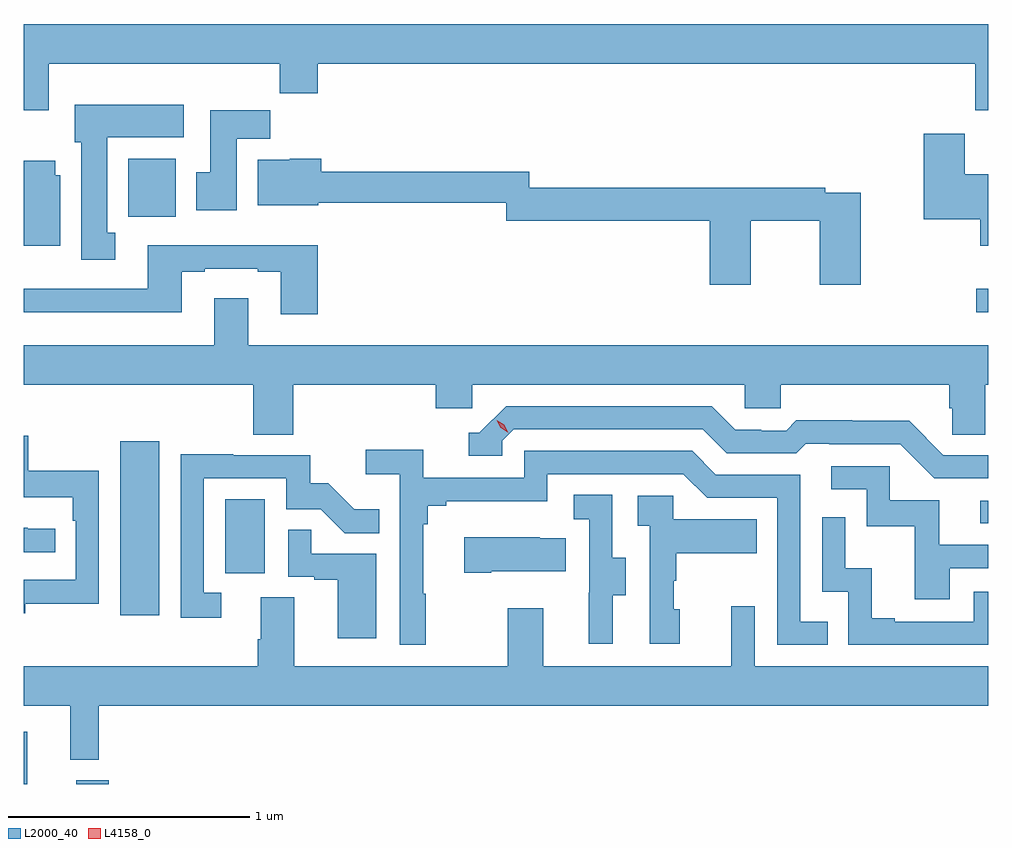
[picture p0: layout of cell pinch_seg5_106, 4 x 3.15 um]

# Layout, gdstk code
import gdstk
lib = gdstk.Library(unit=1e-6, precision=1e-09)
def R(c, l, rs):  # rectangles x0, y0, x1, y1
    for r in rs: c.add(gdstk.rectangle(r[:2], r[2:], *l))
def P(c, l, *ps):  # polygons
    for p in ps: c.add(gdstk.Polygon(p, *l))
L2000_40 = (2000, 40)
L4158_0 = (4158, 0)

pinch_seg5_106 = lib.new_cell('pinch_seg5_106')
R(pinch_seg5_106, L2000_40, [(1028.953,875.083,1028.967,875.299), (1029.17,875.083,1029.305,875.098), (1029.353,875.784,1029.514,876.505), (1029.788,875.958,1029.952,876.265), (1032.921,876.165,1032.953,876.258), (1032.903,877.04,1032.953,877.137), (1029.386,877.436,1029.583,877.678)])
P(pinch_seg5_106, L2000_40, [(1029.055,878.072),(1030.015,878.072),(1030.015,877.948),(1030.172,877.948),(1030.172,878.072),(1032.899,878.072),(1032.899,877.878),(1032.953,877.878),(1032.953,878.236),(1028.953,878.236),(1028.953,877.878),(1029.055,877.878)],
  [(1029.331,877.37),(1029.298,877.37),(1029.298,877.766),(1029.616,877.766),(1029.616,877.9),(1029.164,877.9),(1029.164,877.746),(1029.191,877.746),(1029.191,877.257),(1029.331,877.257)],
  [(1029.835,877.76),(1029.974,877.76),(1029.974,877.879),(1029.725,877.879),(1029.725,877.62),(1029.668,877.62),(1029.668,877.464),(1029.835,877.464)],
  [(1032.953,877.612),(1032.856,877.612),(1032.856,877.78),(1032.686,877.78),(1032.686,877.427),(1032.92,877.427),(1032.92,877.316),(1032.953,877.316)],
  [(1031.968,877.42),(1032.254,877.42),(1032.254,877.155),(1032.425,877.155),(1032.425,877.536),(1032.278,877.536),(1032.278,877.556),(1031.049,877.556),(1031.049,877.624),(1030.187,877.624),(1030.187,877.678),(1030.056,877.678),(1030.056,877.672),(1029.923,877.672),(1029.923,877.484),(1030.174,877.484),(1030.174,877.495),(1030.953,877.495),(1030.953,877.42),(1031.798,877.42),(1031.798,877.155),(1031.968,877.155)],
  [(1029.103,877.608),(1029.082,877.608),(1029.082,877.669),(1028.953,877.669),(1028.953,877.316),(1029.103,877.316)],
  [(1030.172,877.318),(1029.467,877.318),(1029.467,877.137),(1028.953,877.137),(1028.953,877.04),(1029.607,877.04),(1029.607,877.209),(1029.703,877.209),(1029.703,877.221),(1029.923,877.221),(1029.923,877.209),(1030.019,877.209),(1030.019,877.032),(1030.172,877.032)],
  [(1030.07,876.74),(1030.661,876.74),(1030.661,876.642),(1030.812,876.642),(1030.812,876.74),(1031.943,876.74),(1031.943,876.642),(1032.093,876.642),(1032.093,876.74),(1032.791,876.74),(1032.791,876.642),(1032.805,876.642),(1032.805,876.532),(1032.942,876.532),(1032.942,876.74),(1032.953,876.74),(1032.953,876.904),(1029.883,876.904),(1029.883,877.099),(1029.743,877.099),(1029.743,876.904),(1028.953,876.904),(1028.953,876.74),(1029.905,876.74),(1029.905,876.532),(1030.07,876.532)],
  [(1032.953,876.447),(1032.768,876.447),(1032.626,876.589),(1032.39,876.589),(1032.39,876.592),(1032.157,876.592),(1032.115,876.549),(1032.012,876.549),(1032.012,876.552),(1031.905,876.552),(1031.806,876.651),(1030.953,876.651),(1030.842,876.54),(1030.799,876.54),(1030.799,876.444),(1030.938,876.444),(1030.938,876.507),(1030.986,876.555),(1031.769,876.555),(1031.868,876.456),(1032.157,876.456),(1032.196,876.495),(1032.295,876.495),(1032.295,876.492),(1032.588,876.492),(1032.729,876.351),(1032.953,876.351)],
  [(1028.959,875.83),(1029.264,875.83),(1029.264,876.382),(1028.971,876.382),(1028.971,876.528),(1028.953,876.528),(1028.953,876.272),(1029.155,876.272),(1029.155,876.176),(1029.168,876.176),(1029.168,875.931),(1028.953,875.931),(1028.953,875.792),(1028.959,875.792)],
  [(1030.621,875.873),(1030.609,875.873),(1030.609,876.161),(1030.628,876.161),(1030.628,876.238),(1030.705,876.238),(1030.705,876.257),(1031.124,876.257),(1031.124,876.369),(1031.688,876.369),(1031.787,876.27),(1032.078,876.27),(1032.078,875.661),(1032.287,875.661),(1032.287,875.757),(1032.174,875.757),(1032.174,876.366),(1031.824,876.366),(1031.725,876.465),(1031.028,876.465),(1031.028,876.354),(1030.61,876.354),(1030.61,876.47),(1030.371,876.47),(1030.371,876.368),(1030.512,876.368),(1030.512,875.661),(1030.621,875.661)],
  [(1029.772,875.877),(1029.699,875.877),(1029.699,876.351),(1030.041,876.351),(1030.041,876.222),(1030.185,876.222),(1030.283,876.124),(1030.427,876.124),(1030.427,876.223),(1030.323,876.223),(1030.216,876.33),(1030.14,876.33),(1030.14,876.447),(1029.821,876.447),(1029.821,876.452),(1029.603,876.452),(1029.603,875.772),(1029.772,875.772)],
  [(1032.793,875.979),(1032.953,875.979),(1032.953,876.075),(1032.751,876.075),(1032.751,876.261),(1032.546,876.261),(1032.546,876.402),(1032.303,876.402),(1032.303,876.306),(1032.45,876.306),(1032.45,876.153),(1032.649,876.153),(1032.649,875.85),(1032.793,875.85)],
  [(1031.395,875.866),(1031.449,875.866),(1031.449,876.021),(1031.394,876.021),(1031.394,876.284),(1031.235,876.284),(1031.235,876.181),(1031.298,876.181),(1031.298,875.877),(1031.297,875.877),(1031.297,875.664),(1031.395,875.664)],
  [(1031.674,875.808),(1031.649,875.808),(1031.649,875.927),(1031.659,875.927),(1031.659,876.041),(1031.993,876.041),(1031.993,876.181),(1031.646,876.181),(1031.646,876.279),(1031.499,876.279),(1031.499,876.155),(1031.55,876.155),(1031.55,875.664),(1031.674,875.664)],
  [(1032.953,875.88),(1032.894,875.88),(1032.894,875.757),(1032.565,875.757),(1032.565,875.77),(1032.47,875.77),(1032.47,875.978),(1032.36,875.978),(1032.36,876.19),(1032.264,876.19),(1032.264,875.88),(1032.372,875.88),(1032.372,875.661),(1032.953,875.661)],
  [(1029.082,876.141),(1028.969,876.141),(1028.969,876.146),(1028.953,876.146),(1028.953,876.045),(1029.082,876.045)],
  [(1030.414,876.039),(1030.145,876.039),(1030.145,876.137),(1030.05,876.137),(1030.05,875.943),(1030.157,875.943),(1030.157,875.931),(1030.256,875.931),(1030.256,875.688),(1030.414,875.688)],
  [(1030.891,875.966),(1031.201,875.966),(1031.201,876.103),(1031.093,876.103),(1031.093,876.106),(1030.779,876.106),(1030.779,875.959),(1030.891,875.959)],
  [(1029.263,875.408),(1032.953,875.408),(1032.953,875.572),(1031.985,875.572),(1031.985,875.821),(1031.888,875.821),(1031.888,875.572),(1031.107,875.572),(1031.107,875.812),(1030.96,875.812),(1030.96,875.572),(1030.075,875.572),(1030.075,875.858),(1029.935,875.858),(1029.935,875.684),(1029.923,875.684),(1029.923,875.572),(1028.953,875.572),(1028.953,875.408),(1029.146,875.408),(1029.146,875.183),(1029.263,875.183)])
P(pinch_seg5_106, L4158_0, [(1030.962,876.541),(1030.931,876.56),(1030.915,876.593),(1030.915,876.593),(1030.915,876.593),(1030.946,876.574),(1030.962,876.541),(1030.962,876.541)])

lib.write_gds('pinch_seg5_106.gds')
